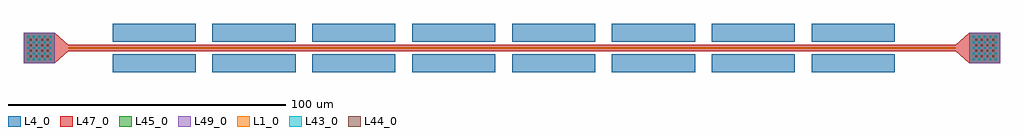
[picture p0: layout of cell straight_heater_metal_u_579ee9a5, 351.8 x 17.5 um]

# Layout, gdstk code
import gdstk
lib = gdstk.Library(unit=1e-6, precision=1e-09)
def R(c, l, rs):  # rectangles x0, y0, x1, y1
    for r in rs: c.add(gdstk.rectangle(r[:2], r[2:], *l))
def A(c, l, x, y, w, h, nx, ny, dx, dy):  # array of equal rectangles
    R(c, l, [(x+i*dx, y+j*dy, x+i*dx+w, y+j*dy+h) for i in range(nx) for j in range(ny)])
def P(c, l, *ps):  # polygons
    for p in ps: c.add(gdstk.Polygon(p, *l))
L1_0 = (1, 0)
L4_0 = (4, 0)
L43_0 = (43, 0)
L44_0 = (44, 0)
L45_0 = (45, 0)
L47_0 = (47, 0)
L49_0 = (49, 0)

straight_heater_metal_u_ = lib.new_cell('straight_heater_metal_u_579ee9a5')
R(straight_heater_metal_u_, L1_0, [(0,-0.25,320,0.25)])
A(straight_heater_metal_u_, L4_0, 16, -8.75, 30, 6.5, 8, 2, 36, 11)
A(straight_heater_metal_u_, L43_0, -14.75, -4.35, 0.7, 0.7, 5, 5, 2, 2)
A(straight_heater_metal_u_, L43_0, 326.05, -4.35, 0.7, 0.7, 5, 5, 2, 2)
A(straight_heater_metal_u_, L44_0, -13.75, -3.35, 0.7, 0.7, 4, 4, 2, 2)
A(straight_heater_metal_u_, L44_0, 327.05, -3.35, 0.7, 0.7, 4, 4, 2, 2)
R(straight_heater_metal_u_, L45_0, [(-15.9,-5.5,-4.9,5.5), (324.9,-5.5,335.9,5.5)])
P(straight_heater_metal_u_, L47_0, [(-15.9,-5.5),(-15.9,5.5),(-4.9,5.5),(0.1,1.25),(319.9,1.25),(324.9,5.5),(335.9,5.5),(335.9,-5.5),(324.9,-5.5),(319.9,-1.25),(0.1,-1.25),(-4.9,-5.5)])
R(straight_heater_metal_u_, L49_0, [(-15.9,-5.5,-4.9,5.5), (324.9,-5.5,335.9,5.5)])

lib.write_gds('straight_heater_metal_u_579ee9a5.gds')
